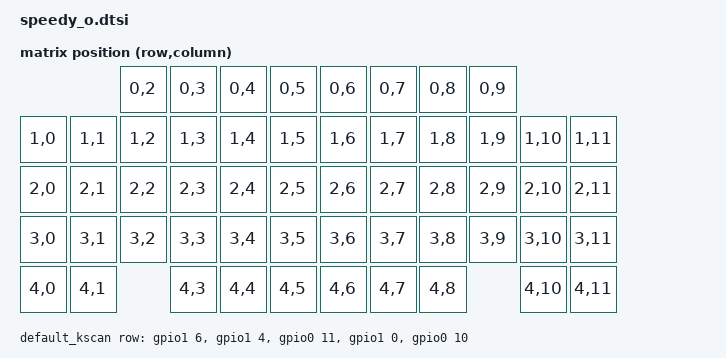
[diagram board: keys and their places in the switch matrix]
#include <dt-bindings/zmk/matrix_transform.h>
#include <dt-bindings/led/led.h>
#include "speedy_o-layouts.dtsi"

/ {
    chosen {
        zmk,kscan = &default_kscan;
        //zmk,matrix_transform = &default_transform;
        //zmk,underglow = &led_underglow;
        zmk,physical-layout = &speedy_o_layout;
    };


    default_transform: keymap_transform_0 {
        compatible = "zmk,matrix-transform";
        columns = <12>;
        rows = <5>;
// | P3   | P4   | P5   | P18  | P15  | P14  |   | P14  | P15  |  P18 | P5   | P4   | P3   |
// | 0.20 | 0.22 | 0.24 | 1.15 | 1.13 | 1.11 |   | 1.11 | 1.13 | 1.15 | 0.24 | 0.22 | 0.20 |
// |-----------------------------------------|   |-----------------------------------------|
// |      |      | SW2  | SW3  | SW4  | SW5  |   | SW5  | SW4  | SW3  | SW2  |      |      | 1.06
// | SW1  | SW1  | SW2  | SW3  | SW4  | SW5  |   | SW5  | SW4  | SW3  | SW2  | SW1  | SW1  | 1.04
// | SW6  | SW1  | SW7  | SW8  | SW9  | SW10 |   | SW10 | SW9  | SW8  | SW7  | SW6  | SW6  | 0.11
// | SW11 | SW6  | SW12 | SW13 | SW14 | SW15 |   | SW15 | SW14 | SW13 | SW12 | SW11 | SW11 | 1.00
// | SW11 | SW11 |      | SW16 | SW17 | SW18 |   | SW18 | SW17 | SW16 |      | SW11 | SW11 | 0.10
        map = <
                RC(0,2) RC(0,3) RC(0,4) RC(0,5)    RC(0,6) RC(0,7) RC(0,8) RC(0,9)
RC(1,0) RC(1,1) RC(1,2) RC(1,3) RC(1,4) RC(1,5)    RC(1,6) RC(1,7) RC(1,8) RC(1,9) RC(1,10)  RC(1,11)
RC(2,0) RC(2,1) RC(2,2) RC(2,3) RC(2,4) RC(2,5)    RC(2,6) RC(2,7) RC(2,8) RC(2,9) RC(2,10)  RC(2,11)
RC(3,0) RC(3,1) RC(3,2) RC(3,3) RC(3,4) RC(3,5)    RC(3,6) RC(3,7) RC(3,8) RC(3,9) RC(3,10)  RC(3,11)
RC(4,0) RC(4,1)         RC(4,3) RC(4,4) RC(4,5)    RC(4,6) RC(4,7) RC(4,8)         RC(4,10)  RC(4,11)
        >;
    };

    default_kscan: kscan {
        compatible = "zmk,kscan-gpio-matrix";
        diode-direction = "col2row";

        row-gpios = <&gpio1 6  (GPIO_ACTIVE_HIGH | GPIO_PULL_DOWN)>, // P 1.06
                    <&gpio1 4  (GPIO_ACTIVE_HIGH | GPIO_PULL_DOWN)>, // P 1.04
                    <&gpio0 11 (GPIO_ACTIVE_HIGH | GPIO_PULL_DOWN)>, // P 0.11
                    <&gpio1 0  (GPIO_ACTIVE_HIGH | GPIO_PULL_DOWN)>, // P 1.00
                    <&gpio0 10 (GPIO_ACTIVE_HIGH | GPIO_PULL_DOWN)>; // P 0.10
    };
};

&speedy_o_layout{
    transform = <&default_transform>;
    kscan = <&default_kscan>;
};

//led_underglow: ws2812 {
//    compatible = "worldsemi,ws2812-gpio";
//    chain-length = <27>;
//    color-mapping = <LED_COLOR_ID_GREEN 
//                    LED_COLOR_ID_RED 
//                    LED_COLOR_ID_BLUE>;
//    in-gpios = <&gpio0 2 GPIO_ACTIVE_HIGH>;
//    #address-cells = <1>;
//    #size-cells = <0>;
//};
